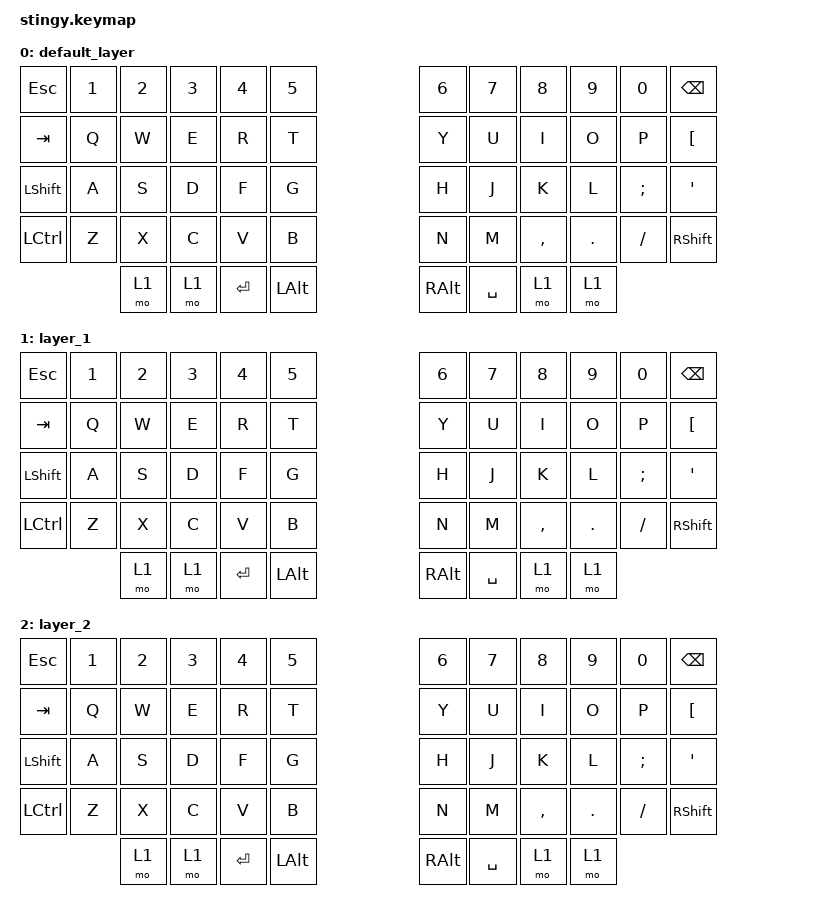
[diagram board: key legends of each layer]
#include <behaviors.dtsi>
#include <dt-bindings/zmk/keys.h>
#include <dt-bindings/zmk/bt.h>

/ {
    keymap {
        compatible = "zmk,keymap";

        default_layer {
            bindings = <
                &kp ESC    &kp N1    &kp N2    &kp N3    &kp N4 &kp N5             &kp N6   &kp N7    &kp N8        &kp N9        &kp N0        &kp BACKSPACE
                &kp TAB    &kp Q     &kp W     &kp E     &kp R  &kp T              &kp Y    &kp U     &kp I         &kp O         &kp P         &kp LEFT_BRACKET
                &kp LSHIFT &kp A     &kp S     &kp D     &kp F  &kp G              &kp H    &kp J     &kp K         &kp L         &kp SEMICOLON &kp SINGLE_QUOTE
                &kp LCTRL  &kp Z     &kp X     &kp C     &kp V  &kp B              &kp N    &kp M     &kp COMMA     &kp DOT       &kp SLASH     &kp RSHIFT
                                     &mo 1     &mo 1     &kp ENTER  &kp LALT       &kp RALT &kp SPACE  &mo 1 &mo 1
            >;
        };

         layer_1 {
            bindings = <
                &kp ESC    &kp N1    &kp N2    &kp N3    &kp N4 &kp N5             &kp N6   &kp N7    &kp N8        &kp N9        &kp N0        &kp BACKSPACE
                &kp TAB    &kp Q     &kp W     &kp E     &kp R  &kp T              &kp Y    &kp U     &kp I         &kp O         &kp P         &kp LEFT_BRACKET
                &kp LSHIFT &kp A     &kp S     &kp D     &kp F  &kp G              &kp H    &kp J     &kp K         &kp L         &kp SEMICOLON &kp SINGLE_QUOTE
                &kp LCTRL  &kp Z     &kp X     &kp C     &kp V  &kp B              &kp N    &kp M     &kp COMMA     &kp DOT       &kp SLASH     &kp RSHIFT
                                     &mo 1     &mo 1     &kp ENTER  &kp LALT       &kp RALT &kp SPACE  &mo 1 &mo 1

            >;
        };
        layer_2 {
            bindings = <
                &kp ESC    &kp N1    &kp N2    &kp N3    &kp N4 &kp N5             &kp N6   &kp N7    &kp N8        &kp N9        &kp N0        &kp BACKSPACE
                &kp TAB    &kp Q     &kp W     &kp E     &kp R  &kp T              &kp Y    &kp U     &kp I         &kp O         &kp P         &kp LEFT_BRACKET
                &kp LSHIFT &kp A     &kp S     &kp D     &kp F  &kp G              &kp H    &kp J     &kp K         &kp L         &kp SEMICOLON &kp SINGLE_QUOTE
                &kp LCTRL  &kp Z     &kp X     &kp C     &kp V  &kp B              &kp N    &kp M     &kp COMMA     &kp DOT       &kp SLASH     &kp RSHIFT
                                     &mo 1     &mo 1     &kp ENTER  &kp LALT       &kp RALT &kp SPACE  &mo 1 &mo 1
            >;
        };
    };
};


